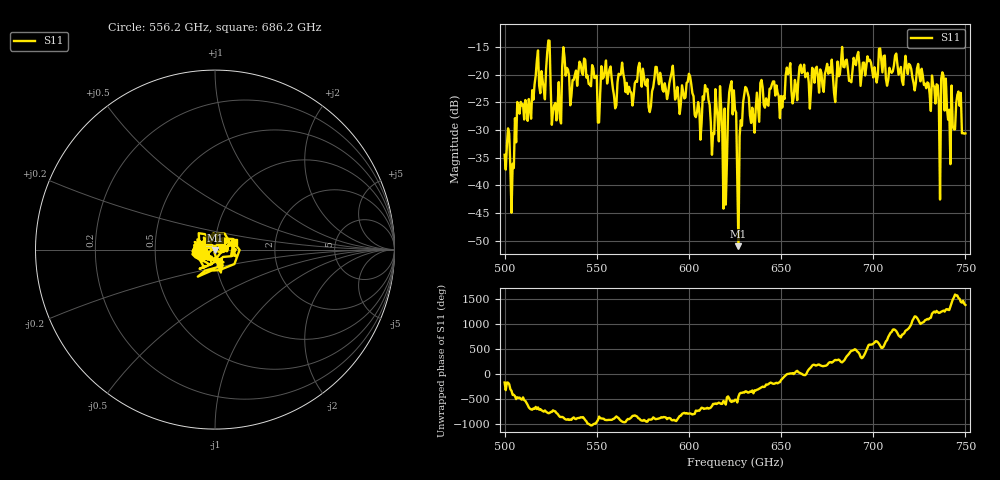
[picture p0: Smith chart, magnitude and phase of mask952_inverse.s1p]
!Created with skrf (http://scikit-rf.org).
# GHz S MA R 50.0
!freq magS11 angS11
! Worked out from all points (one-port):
!   401 points, 500 GHz to 750 GHz, reference 50 ohm
!   lowest |S11| = -51.0 dB at 626.9 GHz (marker M1), VSWR 1.01, Z = 50 - j0.28 ohm
!   |S11| at or under -10 dB: start of sweep to end of sweep
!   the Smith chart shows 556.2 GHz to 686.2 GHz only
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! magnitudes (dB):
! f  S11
! 500 GHz  -34.5
! 503.8 GHz  -45.0
! 508.1 GHz  -27.0
! 513.1 GHz  -24.4
! 517.5 GHz  -17.4
! 523.8 GHz  -13.8
! 526.9 GHz  -25.6
! 531.2 GHz  -18.5
! 562.5 GHz  -20.1
! 593.8 GHz  -22.2
! 610 GHz  -22.5
! 612.5 GHz  -34.5
! 616.2 GHz  -32.1
! 619.4 GHz  -26.1
! 622.5 GHz  -21.9
! 625 GHz  -26.3
! 626.9 GHz  -51.0
! 630.6 GHz  -22.2
! 634.4 GHz  -26.0
! 656.2 GHz  -25.2
! 687.5 GHz  -21.1
! 718.8 GHz  -19.9
! 733.1 GHz  -22.2
! 735 GHz  -21.9
! 738.1 GHz  -20.2
! 743.1 GHz  -29.2
! 746.2 GHz  -23.0
! 750 GHz  -30.6
